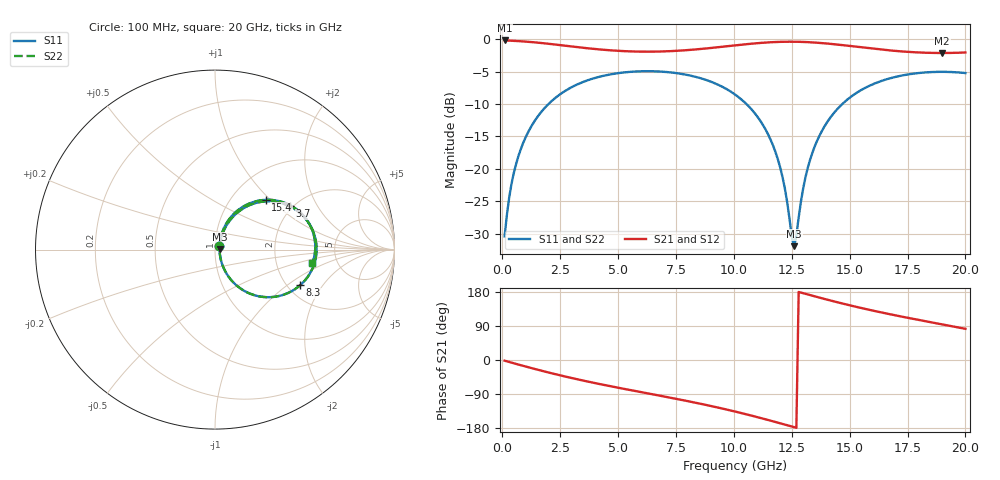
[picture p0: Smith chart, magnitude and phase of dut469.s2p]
! Touchstone file exported from HFSS 2026.1.0
!  File:  C:/ffzhzh/LocalFiles/Ansys_Project_Files/temp_train_TSV_RDL_469_1783102723_50312.aedt
!  Generated:  02:31:15 AM Jul  4, 2026
!  Design:  TSV_RDL
!  Project:  temp_train_TSV_RDL_469_1783102723_50312
! Variables:
!  h_bsmrdl = 3.84um
!  h_ox = 20um
!  h_rdl = 5um
!  h_sub = 94.86um
!  h_tmrdl = 2.86um
!  h_tsv = 94.86um
!  h_via = 3um
!  l_bsmrdl = 564.51um
!  l_sub = 4553.74um
!  l_tmrdl = 586.2um
!  m_sub = 200um
!  pitch = 52.43um
!  r_tsv = 9.92um
!  s_tmrdl = 10um
!  w_bsmrdl = 17.06um
!  w_sub = 500um
!  w_tmrdl = 21.41um
!  x_tsv_center1 = 596.905um
!  x_tsv_center2 = 1178.475um
!  x_tsv_center3 = 1786.085um
!  x_tsv_center4 = 2367.655um
!  x_tsv_center5 = 2975.265um
!  x_tsv_center6 = 3556.835um
# GHz S MA R 50.000000
! Terminal data exported
! Port[1] = TM_RDL1_1_T1
! Port[2] = TM_RDL5_1_T1
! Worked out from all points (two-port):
!   200 points, 100 MHz to 20 GHz, reference 50 ohm
!   highest |S21| = -0.21 dB at 100 MHz (marker M1); lowest = -2.1 dB at 19 GHz (marker M2)
!   |S21| within 3 dB of the highest: start of sweep to end of sweep
!   lowest |S11| = -31.9 dB at 12.6 GHz (marker M3), VSWR 1.05, Z = 52.6 + j0.0885 ohm
!   |S11| at or under -10 dB: start of sweep to 1.997 GHz; 10.54 GHz to 14.69 GHz (4.147 GHz wide, 32.9 % of centre)
!   |S22| runs from -31.9 to -4.9 dB; largest |S21 - S12| = 1.7e-14
!   S11 on the Smith chart (normalised r, x): 100 MHz: 1.05, +0.04; 3.7 GHz: 1.93, +1.21; 8.3 GHz: 2.33, -1.26; 15.4 GHz: 1.42, +0.94; 20 GHz: 3.25, -0.71
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0.1  0.03016 36.5  0.9762 -1.8  0.9762 -1.8  0.03016 36.5
! Gamma 0 0 0 0
! Port Impedance 50 0 50 0
0.3  0.06044 60.1  0.9733 -5.3  0.9733 -5.3  0.06044 60.1
0.5  0.09334 64.7  0.9693 -8.7  0.9693 -8.7  0.09334 64.7
1.1  0.1891 62.6  0.9539 -18.7  0.9539 -18.7  0.1891 62.6
2.1  0.3292 50.5  0.9161 -34.6  0.9161 -34.6  0.3292 50.5
3.5  0.4681 32.5  0.8568 -54.4  0.8568 -54.4  0.4681 32.5
3.7  0.4824 30.0  0.8492 -57.0  0.8492 -57.0  0.4824 30.0
5.3  0.5545 11.2  0.807 -76.7  0.807 -76.7  0.5546 11.2
6.8  0.5623 -5.5  0.802 -94.1  0.802 -94.1  0.5624 -5.5
8.3  0.5143 -22.7  0.8307 -112.2  0.8307 -112.2  0.5143 -22.7
10.1  0.3686 -45.4  0.8965 -136.7  0.8965 -136.7  0.3686 -45.4
11  0.2548 -57.1  0.9295 -150.5  0.9295 -150.5  0.2548 -57.1
11.7  0.1501 -64.3  0.9476 -161.9  0.9476 -161.9  0.1502 -64.2
12.1  0.08682 -63.5  0.9533 -168.6  0.9533 -168.6  0.08689 -63.5
12.6  0.02533 1.9  0.9545 -177.1  0.9545 -177.1  0.02538 1.8
13  0.07151 63.9  0.9508 176.2  0.9508 176.2  0.07147 63.9
13.4  0.1342 67.3  0.9431 169.5  0.9431 169.5  0.1341 67.3
14.2  0.2527 59.8  0.9181 156.6  0.9181 156.6  0.2527 59.9
15.4  0.3952 44.6  0.8686 138.6  0.8686 138.6  0.3951 44.6
16.7  0.496 28.6  0.8193 121.3  0.8193 121.3  0.496 28.6
19  0.5594 2.9  0.7813 93.9  0.7813 93.9  0.5594 2.9
20  0.5474 -8.0  0.7887 82.3  0.7887 82.3  0.5474 -8.0
